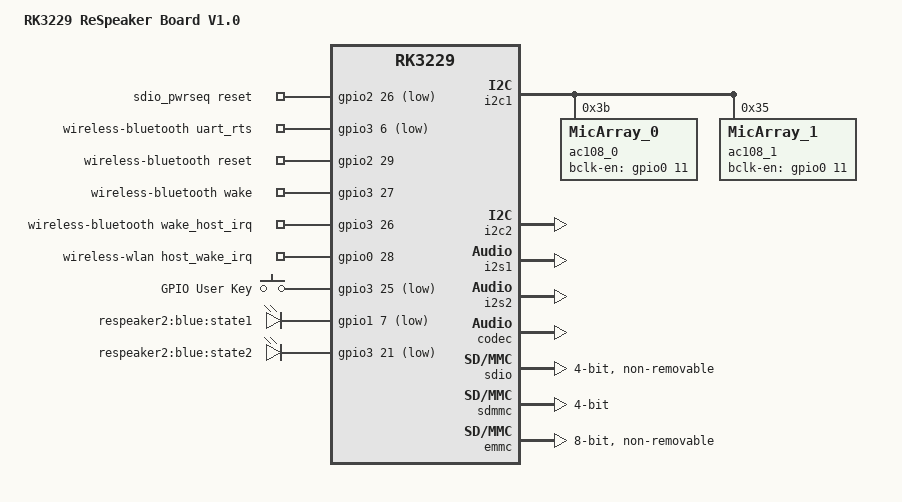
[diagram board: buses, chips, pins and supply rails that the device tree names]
/* Author: Baozhu Zuo <zuobaozhu@gmail.com>
 * Copyright (c) 2018 Seeed Corporation.
 *
 * This program is free software; you can redistribute it and/or modify
 * it under the terms of the GNU General Public License version 2 as
 * published by the Free Software Foundation.
*/


/dts-v1/;

#include "rk3229-axolcore.dtsi"

/ {

  model = "RK3229 ReSpeaker Board V1.0";
	compatible = "rockchip,rk3229";

	sdio_pwrseq: sdio-pwrseq {
		compatible = "mmc-pwrseq-simple";
		clocks = <&rk805 1>;
		clock-names = "ext_clock";
		pinctrl-names = "default";
		pinctrl-0 = <&wifi_enable_h>;

		/*
		 * On the module itself this is one of these (depending
		 * on the actual card populated):
		 * - SDIO_RESET_L_WL_REG_ON
		 * - PDN (power down when low)
		 */
		reset-gpios = <&gpio2 26 GPIO_ACTIVE_LOW>; /* GPIO2_D2 */
	};

	wireless-bluetooth {
		compatible = "bluetooth-platdata";
		clocks = <&rk805 1>;
		clock-names = "ext_clock";
		uart_rts_gpios = <&gpio3 6 GPIO_ACTIVE_LOW>;
		pinctrl-names = "default", "rts_gpio";
		pinctrl-0 = <&uart11_rts>;
		pinctrl-1 = <&uart11_rts_gpio>;
		BT,reset_gpio    = <&gpio2 29 GPIO_ACTIVE_HIGH>;
		BT,wake_gpio     = <&gpio3 27 GPIO_ACTIVE_HIGH>;
		BT,wake_host_irq = <&gpio3 26 GPIO_ACTIVE_HIGH>;
		status = "okay";
	};

	wireless-wlan {
		compatible = "wlan-platdata";
		rockchip,grf = <&grf>;
		wifi_chip_type = "ap6212";
		sdio_vref = <1800>;
		WIFI,host_wake_irq = <&gpio0 28 GPIO_ACTIVE_HIGH>;
		status = "okay";
	};
	codec_pcm: codec_pcm {
		compatible = "linux,snd-soc-dummy";
		#sound-dai-cells = <0>;
	};
	sound0: sound@0 {
		compatible = "simple-audio-card";
		simple-audio-card,name = "seeed-8mic-voicecard";
		simple-audio-card,mclk-fs = <256>;
		status = "okay";

		simple-audio-card,dai-link@0 {
			format = "i2s";
			cpu {
				sound-dai = <&i2s1>;
			};

			codec {
				sound-dai = <&ac108_0>;
			};
		};
		simple-audio-card,dai-link@1 {
			format = "i2s";
			cpu {
				sound-dai = <&i2s1>;
			};

			codec {
				sound-dai = <&codec>;
			};
		};
	};

	sound1: sound@1{
		compatible = "simple-audio-card";
		simple-audio-card,name = "bluetooth-a2dp";
		simple-audio-card,mclk-fs = <256>;
		status = "disabled";
		simple-audio-card,dai-link@0 {
			format = "i2s";
			cpu {
				sound-dai = <&i2s2>;
				system-clock-frequency = <24000000>;
			};

			codec {
				system-clock-frequency = <24000000>;
				sound-dai = <&codec_pcm>;
			};
		};

	};

	gpio_keys {
		compatible = "gpio-keys";
		#address-cells = <1>;
		#size-cells = <0>;
		autorepeat;

		pinctrl-names = "default";
		pinctrl-0 = <&user_key>;

		key_1: key-1 {
			label = "GPIO User Key";
			gpios = <&gpio3 25 GPIO_ACTIVE_LOW>;
			linux,code = <194>;
			debounce-interval = <100>;
			wakeup-source;
		};
	};
   gpio-leds {
     compatible = "gpio-leds";
     pinctrl-names = "default";
     pinctrl-0 = <&gpio_leds>;

     heartbeat {
       gpios = <&gpio1 7 GPIO_ACTIVE_LOW>;
       label = "respeaker2:blue:state1";
       linux,default-trigger = "heartbeat";
       default-state = "off";
    };

     mmc { 
       gpios = <&gpio3 21 GPIO_ACTIVE_LOW>;
       label = "respeaker2:blue:state2";
       linux,default-trigger = "mmc0";
       default-state = "off";
    };
  };
};
&i2c1 {
	status = "okay";

	ac108_0: ac108@3b {
		#sound-dai-cells = <0>;
		compatible = "MicArray_0";
		reg = <0x3b>;
	  rockchip,bclk-en=<&gpio0 11 GPIO_ACTIVE_HIGH>;
	};
	ac108_1: ac108@35 {
		#sound-dai-cells = <0>;
		compatible = "MicArray_1";
	  rockchip,bclk-en=<&gpio0 11 GPIO_ACTIVE_HIGH>;
		reg = <0x35>;
	};
};

&i2c2 {
	status = "okay";
};

&i2s1 {
	status = "okay";
	rockchip,i2s-broken-burst-len;
	rockchip,playback-channels = <2>;
	rockchip,capture-channels = <8>;
	rockchip,bclk-fs = <64>;
	#sound-dai-cells = <0>;
};

&i2s2 {
	#sound-dai-cells = <0>;
	pinctrl-names = "default";
	pinctrl-0 = <&pcm_io>;
	status = "okay";
};
&codec {
	#sound-dai-cells = <0>;
	status = "okay";
};



&pinctrl {
	pinctrl-names = "default";

	sdio-pwrseq {
		wifi_enable_h: wifi-enable-h {
			rockchip,pins = <2 26 RK_FUNC_GPIO &pcfg_pull_none>;
		};
	};

 	keys {
		user_key: user-key {
			rockchip,pins = <3 25 RK_FUNC_GPIO &pcfg_pull_up>;
		};
	};
   
	gpio {
		gpio_leds: gpio-leds {
			rockchip,pins = <1 7 RK_FUNC_GPIO &pcfg_pull_none>,
					<3 21 RK_FUNC_GPIO &pcfg_pull_none>;
		};
	};
  i2s1 {
			i2s1_bus: i2s1-bus {
				rockchip,pins = <0 8 RK_FUNC_1 &pcfg_pull_none>,
						<0 9 RK_FUNC_1 &pcfg_pull_none>,
						<0 12 RK_FUNC_1 &pcfg_pull_none>,
						<0 13 RK_FUNC_1 &pcfg_pull_none>,
						<0 14 RK_FUNC_1 &pcfg_pull_none>,
						<1 2 RK_FUNC_2 &pcfg_pull_none>,
						<1 4 RK_FUNC_2 &pcfg_pull_none>,
						<1 5 RK_FUNC_2 &pcfg_pull_none>;
			}; 
  };
	pcm {
		pcm_io: pcm-io {
			rockchip,pins =  <0 26 RK_FUNC_2 &pcfg_pull_none>,
					 <0 27 RK_FUNC_2 &pcfg_pull_none>,
					 <3 11 RK_FUNC_1 &pcfg_pull_none>,
					 <3 12 RK_FUNC_1 &pcfg_pull_none>;
		};
	};

};
 
&sdio {
	bus-width = <4>;
	cap-mmc-highspeed;
	cap-sd-highspeed;
	cap-sdio-irq;
	non-removable;
	ignore-pm-notify;
	keep-power-in-suspend;
	max-frequency = <150000000>;
	supports-sdio;
  mmc-pwrseq = <&sdio_pwrseq>;
	num-slots = <1>;
	sd-uhs-sdr104;
	status = "okay";

};

&sdmmc {
	bus-width = <4>;
	cap-sd-highspeed;
	card-detect-delay = <200>;
	disable-wp;
	max-frequency = <50000000>;
	num-slots = <1>;
	supports-sd;
	status = "okay";
};

&emmc {
	max-frequency = <50000000>;
	broken-cd;
	bus-width = <8>;
	cap-mmc-highspeed;
  sd-uhs-sdr50;
	supports-emmc;
	disable-wp;
	non-removable;
	num-slots = <1>;
  status = "okay";
};

